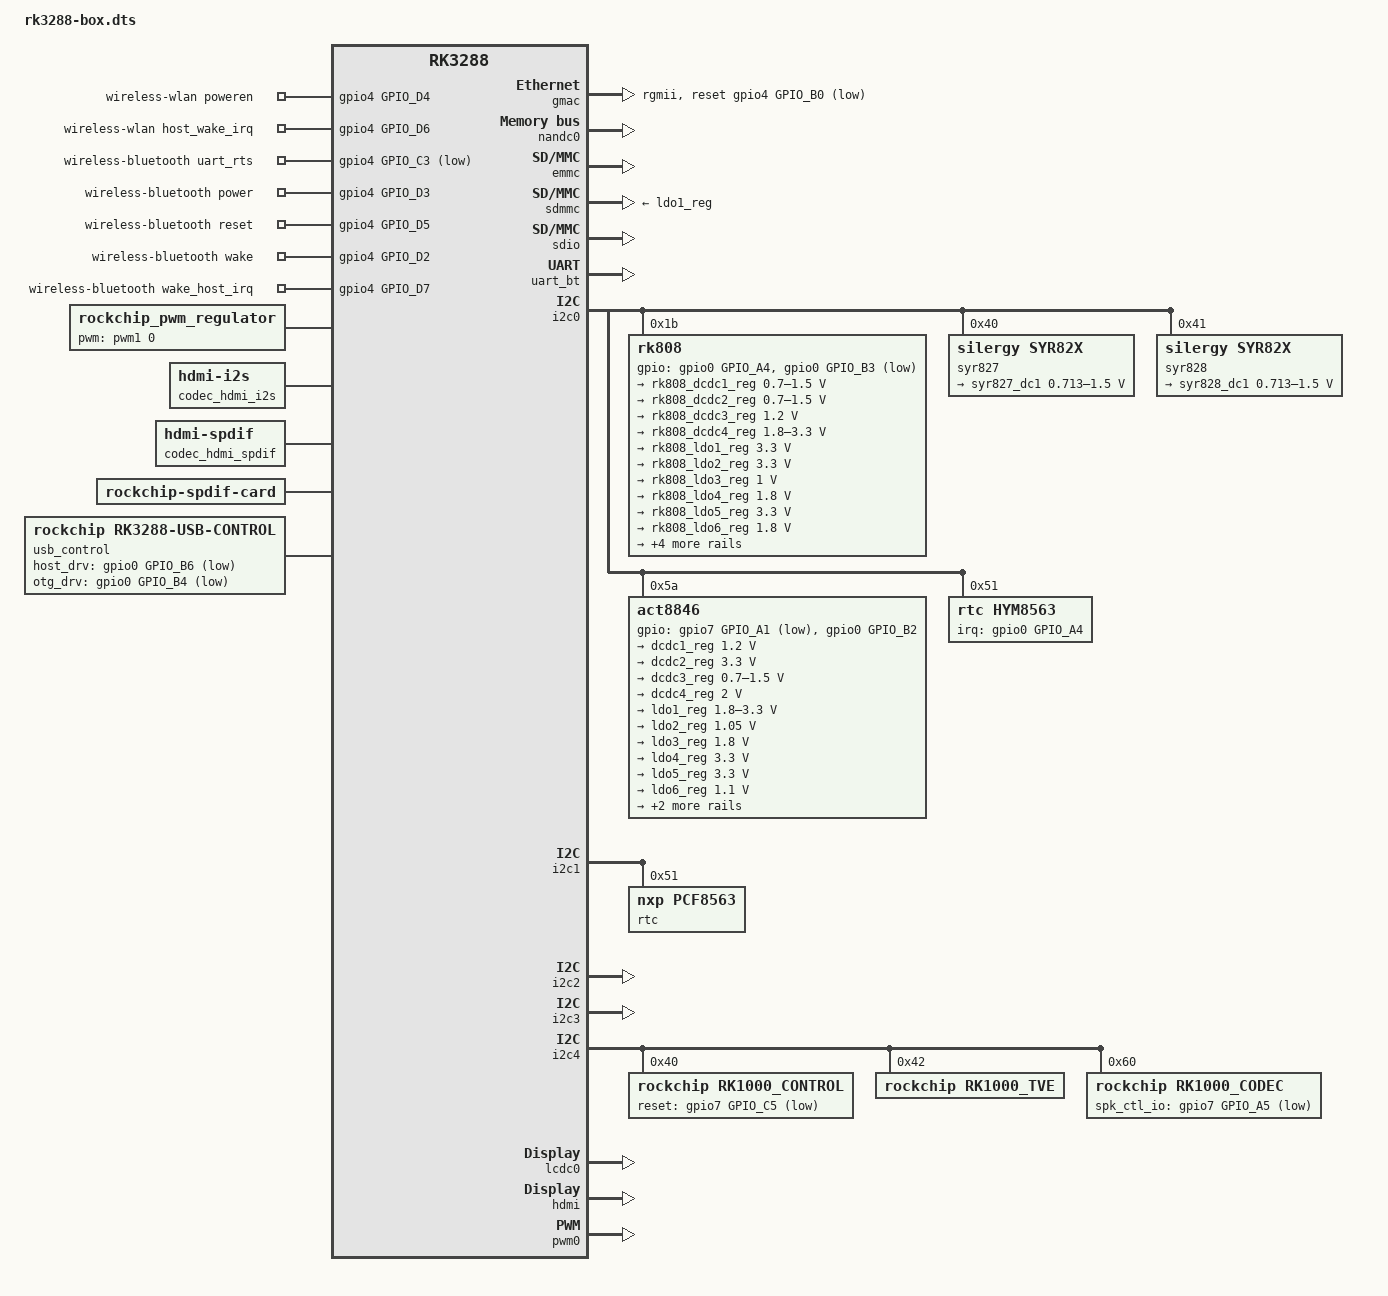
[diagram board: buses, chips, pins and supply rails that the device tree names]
// SPDX-License-Identifier: (GPL-2.0+ OR MIT)
/dts-v1/;

#include "rk3288.dtsi"
#include "lcd-box.dtsi"
#include <dt-bindings/input/input.h>

/ {
	fiq-debugger {
		status = "okay";
	};

	hsic-usb-hub{
		compatible = "hub_reset";
		reset,pin =<&gpio7 GPIO_A6 GPIO_ACTIVE_HIGH>;	// hub reset pin
		status = "disabled";
	};

    wireless-wlan {
        compatible = "wlan-platdata";

	/* wifi_chip_type - wifi chip define
	* bcmwifi ==> like ap6xxx, rk90x;
	* rtkwifi ==> like rtl8188xx, rtl8723xx,rtl8812auv;
	* esp8089 ==> esp8089;
	* other   ==> for other wifi;
	*/
	wifi_chip_type = "bcmwifi";
	sdio_vref = <1800>; //1800mv or 3300mv

	//keep_wifi_power_on;
	//power_ctrl_by_pmu;
        power_pmu_regulator = "act_ldo3";
        power_pmu_enable_level = <1>; //1->HIGH, 0->LOW

        //vref_ctrl_enable;
        //vref_ctrl_gpio = <&gpio0 GPIO_A2 GPIO_ACTIVE_HIGH>;
        vref_pmu_regulator = "act_ldo3";
        vref_pmu_enable_level = <1>; //1->HIGH, 0->LOW

        WIFI,poweren_gpio = <&gpio4 GPIO_D4 GPIO_ACTIVE_HIGH>;
        WIFI,host_wake_irq = <&gpio4 GPIO_D6 GPIO_ACTIVE_HIGH>;
        //WIFI,reset_gpio = <&gpio0 GPIO_A2 GPIO_ACTIVE_LOW>;

        status = "okay";
    };

    wireless-bluetooth {
        compatible = "bluetooth-platdata";

        //wifi-bt-power-toggle;

        uart_rts_gpios = <&gpio4 GPIO_C3 GPIO_ACTIVE_LOW>;
        pinctrl-names = "default","rts_gpio";
        pinctrl-0 = <&uart0_rts>;
        pinctrl-1 = <&uart0_rts_gpio>;

        BT,power_gpio = <&gpio4 GPIO_D3 GPIO_ACTIVE_HIGH>;
        BT,reset_gpio = <&gpio4 GPIO_D5 GPIO_ACTIVE_HIGH>;
        BT,wake_gpio = <&gpio4 GPIO_D2 GPIO_ACTIVE_HIGH>;
        BT,wake_host_irq = <&gpio4 GPIO_D7 GPIO_ACTIVE_HIGH>;

        status = "okay";
    };

	pwm_regulator {
		compatible = "rockchip_pwm_regulator";
		pwms = <&pwm1 0 2000>;
		rockchip,pwm_id= <1>;
		rockchip,pwm_voltage_map= <925000 950000 975000 1000000 1025000 1050000 1075000 1100000 1125000 1150000 1175000 1200000 1225000 1250000 1275000 1300000 1325000 1350000 1375000 1400000>;
		rockchip,pwm_voltage= <1100000>;
		rockchip,pwm_min_voltage= <925000>;
		rockchip,pwm_max_voltage= <1400000>;
		rockchip,pwm_suspend_voltage= <950000>;
		rockchip,pwm_coefficient= <475>;
		regulators {
			#address-cells = <1>;
			#size-cells = <0>;
			pwm_reg0: regulator@0 {
				regulator-compatible = "pwm_dcdc1";
				regulator-name= "vdd_logic";
				regulator-min-microvolt = <925000>;
				regulator-max-microvolt = <1400000>;
				regulator-always-on;
				regulator-boot-on;
			};
		};
	};

	codec_hdmi_i2s: codec-hdmi-i2s {
		compatible = "hdmi-i2s";
	};

	codec_hdmi_spdif: codec-hdmi-spdif {
		compatible = "hdmi-spdif";
	};

	rockchip-hdmi-i2s {
		status = "disabled";
		compatible = "rockchip-hdmi-i2s";
		dais {
			dai0 {
				audio-codec = <&codec_hdmi_i2s>;
				audio-controller = <&i2s>;
				format = "i2s";
				//continuous-clock;
				//bitclock-inversion;
				//frame-inversion;
				//bitclock-master;
				//frame-master;
			};
		};
	};

	rockchip-spdif-card {
		compatible = "rockchip-spdif-card";
		dais {
			dai0 {
				audio-codec = <&codec_hdmi_spdif>;
				audio-controller = <&spdif>;
			};
		};
	};

	rockchip-rk1000 {
		compatible = "rockchip-rk1000";
		dais {
			dai0 {
				audio-codec = <&rk1000_codec>;
				audio-controller = <&i2s>;
				format = "i2s";
			};
		};
	};

	usb_control {
		compatible = "rockchip,rk3288-usb-control";

		host_drv_gpio = <&gpio0 GPIO_B6 GPIO_ACTIVE_LOW>;
		otg_drv_gpio = <&gpio0 GPIO_B4 GPIO_ACTIVE_LOW>;

		rockchip,remote_wakeup;
		rockchip,usb_irq_wakeup;
	};

	test-power{
		status = "okay";
	};

};

&gmac {
//	pmu_regulator = "act_ldo5";
//	pmu_enable_level = <1>; //1->HIGH, 0->LOW
//	power-gpio = <&gpio0 GPIO_A6 GPIO_ACTIVE_HIGH>;
	reset-gpio = <&gpio4 GPIO_B0 GPIO_ACTIVE_LOW>;
	phy-mode = "rgmii";
	clock_in_out = "input";
	tx_delay = <0x30>;
	rx_delay = <0x10>;
};

&pinctrl {
	//used for init some gpio

	init-gpios = <&gpio8 GPIO_A1 GPIO_ACTIVE_HIGH
		&gpio7 GPIO_B1 GPIO_ACTIVE_HIGH
		&gpio4 GPIO_B0 GPIO_ACTIVE_HIGH>;
	gpio0_gpio {
			gpio0_c2: gpio0-c2 {
				rockchip,pins = <GPIO0_C2>;
				rockchip,pull = <VALUE_PULL_DOWN>;
			};

			//to add
		};

	gpio7_gpio {
			gpio7_b7: gpio7-b7 {
				rockchip,pins = <GPIO7_B7>;
				rockchip,pull = <VALUE_PULL_UP>;
			};

			//to add
		};
	//could add other pinctrl definition such as gpio

	// gmac drive strength
	gpio4_gmac {
		mac_clk: mac-clk {
			rockchip,drive = <VALUE_DRV_12MA>;
		};

		mac_txpins: mac-txpins {
			rockchip,drive = <VALUE_DRV_12MA>;
		};

		mac_rxpins: mac-rxpins {
			rockchip,drive = <VALUE_DRV_12MA>;
		};

		mac_crs: mac-crs {
			rockchip,drive = <VALUE_DRV_12MA>;
		};

		mac_mdpins: mac-mdpins {
			rockchip,drive = <VALUE_DRV_12MA>;
		};
	};
};
&nandc0 {
	status = "okay"; // used nand set "okay" ,used emmc set "disabled"
};
&nandc1 {
	status = "disabled"; // used nand set "okay" ,used emmc set "disabled"
};

&nandc0reg {
	status = "disabled"; // used nand set "okay" ,used emmc set "disabled"
};
&emmc {
	clock-frequency = <100000000>;
	clock-freq-min-max = <400000 100000000>;

        supports-highspeed;
	supports-emmc;
        bootpart-no-access;
	supports-tSD;//only tsd-sdcard mode
	supports-DDR_MODE;
	caps2-mmc-hs200;

        ignore-pm-notify;
		keep-power-in-suspend;
		//poll-hw-reset
		status = "okay";
};

&sdmmc {
		clock-frequency = <50000000>;
		lock-freq-min-max = <400000 50000000>;
		supports-highspeed;
		supports-sd;
		broken-cd;
		card-detect-delay = <200>;

		ignore-pm-notify;
		keep-power-in-suspend;

		vmmc-supply = <&ldo1_reg>;
		status = "okay";
};

&sdio {
		clock-frequency = <50000000>;
		clock-freq-min-max = <200000 50000000>;
		supports-highspeed;
		supports-sdio;
		ignore-pm-notify;
		keep-power-in-suspend;
		//cap-sdio-irq;
		status = "okay";
};

&spi0 {
	status = "disabled";
	max-freq = <48000000>;
	/*
	spi_test@00 {
		compatible = "rockchip,spi_test_bus0_cs0";
                reg = <0>;
                spi-max-frequency = <24000000>;
                //spi-cpha;
		//spi-cpol;
                poll_mode = <0>;
	        type = <0>;
		enable_dma = <0>;

	};

	spi_test@01 {
	        compatible = "rockchip,spi_test_bus0_cs1";
	        reg = <1>;
	        spi-max-frequency = <24000000>;
	        spi-cpha;
		spi-cpol;
	        poll_mode = <0>;
	        type = <0>;
		enable_dma = <0>;
	};
	*/
};

&spi1 {
	status = "disabled";
	max-freq = <48000000>;
	/*
	spi_test@10 {
	        compatible = "rockchip,spi_test_bus1_cs0";
	        reg = <0>;
	        spi-max-frequency = <24000000>;
	        //spi-cpha;
		//spi-cpol;
	        poll_mode = <0>;
	        type = <0>;
		enable_dma = <0>;
	};

	*/
	//dtv: connect to dtv demodulator for control signal
	tstv-ctrl@00 {
		compatible = "rockchip,dtv_spi_ctrl";
		gpio-powerup = <&gpio0 GPIO_D7 GPIO_ACTIVE_HIGH>;
		gpio-powerdown = <&gpio2 GPIO_B6 GPIO_ACTIVE_HIGH>;
		gpio-reset = <&gpio2 GPIO_B7 GPIO_ACTIVE_HIGH>;
	        gpio-nreset = <&gpio2 GPIO_B4 GPIO_ACTIVE_HIGH>;
		spi-max-frequency = <12000000>;
		reg = <0>;
                poll_mode = <0>;
	        type = <0>;
		enable_dma = <0>;
	};

};

&spi2 {
	status = "disabled";
	max-freq = <48000000>;
	/*
	spi_test@20 {
	        compatible = "rockchip,spi_test_bus2_cs0";
	        reg = <0>;
	        spi-max-frequency = <24000000>;
	        //spi-cpha;
		//spi-cpol;
	        poll_mode = <0>;
	        type = <0>;
		enable_dma = <0>;
	};

	spi_test@21 {
	        compatible = "rockchip,spi_test_bus2_cs1";
	        reg = <1>;
	        spi-max-frequency = <24000000>;
	        //spi-cpha;
		//spi-cpol;
	        poll_mode = <0>;
	        type = <0>;
		enable_dma = <0>;
	};
	*/
};

&uart_bt {
        status = "okay";
        dma-names = "!tx", "!rx";
        pinctrl-0 = <&uart0_xfer &uart0_cts>;
};

&i2c0 {
	status = "okay";
	rk808: rk808@1b {
		reg = <0x1b>;
		status = "okay";
	};
		syr827: syr827@40 {
		compatible = "silergy,syr82x";
	reg = <0x40>;
		status = "okay";
		regulators {
			#address-cells = <1>;
			#size-cells = <0>;
			syr827_dc1: regulator@0 {
			reg = <0>;
			regulator-compatible = "syr82x_dcdc1";
			regulator-name = "vdd_arm";
			regulator-min-microvolt = <712500>;
			regulator-max-microvolt = <1500000>;
			regulator-always-on;
			regulator-boot-on;
			regulator-initial-mode = <0x2>;
			regulator-initial-state = <3>;
			regulator-state-mem {
				regulator-state-mode = <0x2>;
				regulator-state-enabled;
				regulator-state-uv = <900000>;
			};
		};
	   };
	};
	syr828: syr828@41 {
		compatible = "silergy,syr82x";
		reg = <0x41>;
		status = "okay";
		regulators {
			#address-cells = <1>;
			#size-cells = <0>;
			syr828_dc1: regulator@0 {
			reg = <0>;
			regulator-compatible = "syr82x_dcdc1";
			regulator-name = "vdd_gpu";
			regulator-min-microvolt = <712500>;
			regulator-max-microvolt = <1500000>;
			regulator-always-on;
		regulator-boot-on;
			regulator-initial-mode = <0x2>;
			regulator-initial-state = <3>;
			regulator-state-mem {
				regulator-state-mode = <0x2>;
				regulator-state-disabled;
				regulator-state-uv = <900000>;
			};
		};
	   };
	};
	act8846: act8846@5a {
		reg = <0x5a>;
		status = "okay";
	};

	rtc@51 {
		compatible = "rtc,hym8563";
		reg = <0x51>;
		irq_gpio = <&gpio0 GPIO_A4 IRQ_TYPE_EDGE_FALLING>;
	};
};

&i2c1 {
	status = "okay";
	rtc@51 {
		compatible = "nxp,pcf8563";
		reg = <0x51>;
	};
};

&i2c2 {
	status = "okay";
};

&i2c3 {
	status = "okay";
};

&i2c4 {
	status = "okay";
	rk1000_control@40 {
		compatible = "rockchip,rk1000_control";
		reg = <0x40>;
		gpio-reset = <&gpio7 GPIO_C5 GPIO_ACTIVE_LOW>;
		#clocks = <&clk_i2s>, <&clk_i2s_out>;
		#clock-names = "i2s_clk","i2s_mclk";
		#pinctrl-names = "default";
		#pinctrl-0 = <&i2s_mclk>;
		status = "okay";
	};
	rk1000_tve@42 {
		compatible = "rockchip,rk1000_tve";
		reg = <0x42>;
		rockchip,source = <0>; //0: LCDC0; 1: LCDC1
		rockchip,prop = <PRMRY>;//<EXTEND>
		status = "okay";
	};
	rk1000_codec: rk1000_codec@60 {
		compatible = "rockchip,rk1000_codec";
		reg = <0x60>;
		spk_ctl_io = <&gpio7 GPIO_A5 GPIO_ACTIVE_LOW>;
		boot_depop = <1>;
		pa_enable_time = <5000>;
		status = "okay";
	};
};

&i2c5 {
	status = "disabled";
};

&fb {
	rockchip,disp-mode = <NO_DUAL>;
	rockchip,uboot-logo-on = <1>;
	rockchip,disp-policy = <DISPLAY_POLICY_BOX>;
};

&disp_timings {
	native-mode = <&timing1>;
};

&rk_screen {
	 display-timings = <&disp_timings>;
};

/*lcdc0 as PRMRY(HDMI)*/
&lcdc0 {
	status = "okay";
	rockchip,iommu-enabled = <1>;
	rockchip,prop = <PRMRY>;
};

&lcdc1 {
	status = "disabled";
	rockchip,iommu-enabled = <1>;
	rockchip,prop = <EXTEND>;
};

&hdmi {
	status = "okay";
	rockchip,cec_enable = <0>;
	rockchip,hdcp_enable = <0>;
};

&ion_cma {
	       reg = <0x00000000 0x1000000>; /* 16MB */
};

&vpu {
	iommu_enabled = <1>;
};

&hevc {
	iommu_enabled = <1>;
};

&iep {
	iommu_enabled = <1>;
};

&adc {
	status = "disabled";

	key {
		compatible = "rockchip,key";
		/*
		io-channels = <&adc 1>;

		vol-up-key {
			linux,code = <115>;
			label = "volume up";
			rockchip,adc_value = <1>;
		};

		vol-down-key {
			linux,code = <114>;
			label = "volume down";
			rockchip,adc_value = <170>;
		};
		*/
		power-key {
			gpios = <&gpio0 GPIO_A5 GPIO_ACTIVE_LOW>;
			linux,code = <116>;
			label = "power";
			gpio-key,wakeup;
		};
		/*
		menu-key {
			linux,code = <59>;
			label = "menu";
			rockchip,adc_value = <355>;
		};

		home-key {
			linux,code = <102>;
			label = "home";
			rockchip,adc_value = <746>;
		};

		back-key {
			linux,code = <158>;
			label = "back";
			rockchip,adc_value = <560>;
		};

		camera-key {
			linux,code = <212>;
			label = "camera";
			rockchip,adc_value = <450>;
		};*/
	};
};

&pwm1 {
	status = "disabled";
};


&clk_core_dvfs_table {
	support-pvtm = <1>;
	pvtm-operating-points = <
		/* KHz    uV	pvtm margin*/
//		126000   900000	25000
//		216000   900000	25000
//		312000   900000	25000
		408000   900000	25000
		600000   950000	50000
		696000   950000	50000
		816000  1000000	50000
		1008000 1050000	75000
		1200000 1100000	75000
		1416000 1200000	75000
		1512000 1300000	75000
		1608000 1350000	75000
//		1704000 1350000	75000
//		1800000 1350000	75000
		>;
	status="okay";
};

&clk_gpu_dvfs_table {
	operating-points = <
		/* KHz    uV */
//		100000 900000
		200000 900000
		300000 950000
		420000 1100000
		500000 1150000
//		600000 1250000
		>;
	status="okay";
};

&clk_ddr_dvfs_table {
	operating-points = <
		/* KHz    uV */
		200000 1075000
		300000 1075000
		456000 1125000
		533000 1150000
		>;

	freq-table = <
		/*status		freq(KHz)*/
		SYS_STATUS_NORMAL	456000
		SYS_STATUS_SUSPEND	200000
		//SYS_STATUS_VIDEO_1080P  240000
		SYS_STATUS_VIDEO_4K     533000
		SYS_STATUS_PERFORMANCE  533000
		//SYS_STATUS_BOOST	324000
		//SYS_STATUS_ISP	400000
		>;
	auto-freq-table = <
		240000
		324000
		456000
		528000
		>;
	auto-freq=<0>;
	status="okay";
};
/include/ "act8846.dtsi"
&act8846 {
	gpios =<&gpio7 GPIO_A1 GPIO_ACTIVE_LOW>,<&gpio0 GPIO_B2 GPIO_ACTIVE_HIGH>;
	act8846,system-power-controller;

	regulators {

		dcdc1_reg: regulator@0{
			regulator-name= "act_dcdc1";
			regulator-min-microvolt = <1200000>;
			regulator-max-microvolt = <1200000>;
			regulator-always-on;
			regulator-boot-on;
		};

		dcdc2_reg: regulator@1 {
			regulator-name= "vccio";
			regulator-min-microvolt = <3300000>;
			regulator-max-microvolt = <3300000>;
			regulator-initial-state = <3>;
			regulator-state-mem {
				regulator-state-enabled;
				regulator-state-uv = <3300000>;
			};
		};

		dcdc3_reg: regulator@2 {
			regulator-name= "vdd_logic";
			regulator-min-microvolt = <700000>;
			regulator-max-microvolt = <1500000>;
			regulator-initial-state = <3>;
			regulator-state-mem {
				regulator-state-enabled;
				regulator-state-uv = <1200000>;
			};

		};

		dcdc4_reg: regulator@3 {
			regulator-name= "act_dcdc4";
			regulator-min-microvolt = <2000000>;
			regulator-max-microvolt = <2000000>;
				regulator-initial-state = <3>;
			regulator-state-mem {
				regulator-state-enabled;
				regulator-state-uv = <2000000>;
			};
		};

		ldo1_reg: regulator@4 {
			regulator-name= "vccio_sd";
			regulator-min-microvolt = <1800000>;
			regulator-max-microvolt = <3300000>;

		};

		ldo2_reg: regulator@5 {
			regulator-name= "act_ldo2";
			regulator-min-microvolt = <1050000>;
			regulator-max-microvolt = <1050000>;

		};

		ldo3_reg: regulator@6 {
			regulator-name= "act_ldo3";
			regulator-min-microvolt = <1800000>;
			regulator-max-microvolt = <1800000>;

		};

		ldo4_reg:regulator@7 {
			regulator-name= "act_ldo4";
			regulator-min-microvolt = <3300000>;
			regulator-max-microvolt = <3300000>;

		};

		ldo5_reg: regulator@8 {
			regulator-name= "act_ldo5";
			regulator-min-microvolt = <3300000>;
			regulator-max-microvolt = <3300000>;

		};

		ldo6_reg: regulator@9 {
			regulator-name= "act_ldo6";
			regulator-min-microvolt = <1100000>;
			regulator-max-microvolt = <1100000>;
			regulator-initial-state = <3>;
			regulator-state-mem {
				regulator-state-enabled;
			};

		};

		ldo7_reg: regulator@10 {
			regulator-name= "vcc_18";
			regulator-min-microvolt = <1800000>;
			regulator-max-microvolt = <1800000>;
			regulator-initial-state = <3>;
			regulator-state-mem {
				regulator-state-enabled;
			};

		};

		ldo8_reg: regulator@11 {
			regulator-name= "act_ldo8";
			regulator-min-microvolt = <1850000>;
			regulator-max-microvolt = <1850000>;

		};
	};
};

/include/ "rk808.dtsi"
&rk808 {
	gpios =<&gpio0 GPIO_A4 GPIO_ACTIVE_HIGH>,<&gpio0 GPIO_B3 GPIO_ACTIVE_LOW>;
	rk808,system-power-controller;

	regulators {

		rk808_dcdc1_reg: regulator@0{
			regulator-name= "vdd_arm";
			regulator-min-microvolt = <700000>;
			regulator-max-microvolt = <1500000>;
			regulator-always-on;
			regulator-boot-on;
			regulator-initial-mode = <0x2>;
			regulator-initial-state = <3>;
			regulator-state-mem {
				regulator-state-mode = <0x2>;
				regulator-state-disabled;
				regulator-state-uv = <900000>;
			};
		};

		rk808_dcdc2_reg: regulator@1 {
			regulator-name= "vdd_gpu";
			regulator-min-microvolt = <700000>;
			regulator-max-microvolt = <1500000>;
			regulator-always-on;
			regulator-boot-on;
			regulator-initial-mode = <0x2>;
			regulator-initial-state = <3>;
			regulator-state-mem {
				regulator-state-mode = <0x2>;
				regulator-state-disabled;
				regulator-state-uv = <900000>;
			};
		};

		rk808_dcdc3_reg: regulator@2 {
			regulator-name= "rk_dcdc3";
			regulator-min-microvolt = <1200000>;
			regulator-max-microvolt = <1200000>;
			regulator-always-on;
			regulator-boot-on;
			regulator-initial-mode = <0x2>;
			regulator-initial-state = <3>;
			regulator-state-mem {
				regulator-state-mode = <0x2>;
				regulator-state-enabled;
				regulator-state-uv = <1200000>;
			};
		};

		rk808_dcdc4_reg: regulator@3 {
			regulator-name= "vccio";
			regulator-min-microvolt = <1800000>;
			regulator-max-microvolt = <3300000>;
			regulator-always-on;
			regulator-boot-on;
			regulator-initial-mode = <0x2>;
			regulator-initial-state = <3>;
			regulator-state-mem {
				regulator-state-mode = <0x2>;
				regulator-state-enabled;
				regulator-state-uv = <2800000>;
			};
		};

    /* NO USED, 3.3V*/
		rk808_ldo1_reg: regulator@4 {
			regulator-name= "rk_ldo1";
			regulator-min-microvolt = <3300000>;
			regulator-max-microvolt = <3300000>;
			regulator-always-on;
			regulator-boot-on;
			regulator-initial-state = <3>;
			regulator-state-mem {
				regulator-state-enabled;
				regulator-state-uv = <3300000>;
			};
		};

    /* BOX:RK1000s, 3.3V  */
		rk808_ldo2_reg: regulator@5 {
			regulator-name= "rk_ldo2";
			regulator-min-microvolt = <3300000>;
			regulator-max-microvolt = <3300000>;
			regulator-always-on;
			regulator-boot-on;
			regulator-initial-state = <3>;
			regulator-state-mem {
				regulator-state-enabled;
				regulator-state-uv = <3300000>;
			};
		};

    /* RK3288 PLL,USB PHY, 1.0V */
		rk808_ldo3_reg: regulator@6 {
			regulator-name= "rk_ldo3";
			regulator-min-microvolt = <1000000>;
			regulator-max-microvolt = <1000000>;
			regulator-always-on;
			regulator-boot-on;
			regulator-initial-state = <3>;
			regulator-state-mem {
				regulator-state-enabled;
				regulator-state-uv = <1000000>;
			};
		};

    /* BOX:RK1000S CORE, 1.8V  */
		rk808_ldo4_reg:regulator@7 {
			regulator-name= "rk_ldo4";
			regulator-min-microvolt = <1800000>;
			regulator-max-microvolt = <1800000>;
			regulator-always-on;
			regulator-boot-on;
			regulator-initial-state = <3>;
			regulator-state-mem {
				regulator-state-disabled;
				regulator-state-uv = <1800000>;
			};
		};

    /* SDMMC IO, 3.3V*/
		rk808_ldo5_reg: regulator@8 {
			regulator-name= "rk_ldo5";
			regulator-min-microvolt = <3300000>;
			regulator-max-microvolt = <3300000>;
			regulator-always-on;
			regulator-boot-on;
			regulator-initial-state = <3>;
			regulator-state-mem {
				regulator-state-enabled;
				regulator-state-uv = <3300000>;
			};
		};

    /* CAMERA, 1.8V  box modify*/
		rk808_ldo6_reg: regulator@9 {
			regulator-name= "rk_ldo6";
			regulator-min-microvolt = <1800000>;
			regulator-max-microvolt = <1800000>;
			regulator-always-on;
			regulator-boot-on;
			regulator-initial-state = <3>;
			regulator-state-mem {
				regulator-state-disabled;
				regulator-state-uv = <1000000>;
			};
		};

    /* RK3288 USB PHY, SAR-ADC, WIFI IO, 1.8V */
		rk808_ldo7_reg: regulator@10 {
			regulator-name= "rk_ldo7";
			regulator-min-microvolt = <1800000>;
			regulator-max-microvolt = <1800000>;
			regulator-always-on;
			regulator-boot-on;
			regulator-initial-state = <3>;
			regulator-state-mem {
				regulator-state-enabled;
				regulator-state-uv = <1800000>;
			};
		};

    /* DTV, 3.3V  box modify*/
		rk808_ldo8_reg: regulator@11 {
			regulator-name= "rk_ldo8";
			regulator-min-microvolt = <3300000>;
			regulator-max-microvolt = <3300000>;
			regulator-always-on;
			regulator-boot-on;
			regulator-initial-state = <3>;
			regulator-state-mem {
				regulator-state-enabled;
				regulator-state-uv = <3300000>;
			};
		};

		rk808_ldo9_reg: regulator@12 {
			regulator-name= "rk_ldo9";
			regulator-always-on;
			regulator-boot-on;
			regulator-initial-state = <3>;
			regulator-state-mem {
				regulator-state-enabled;
			};
		};

		rk808_ldo10_reg: regulator@13 {
			regulator-name= "rk_ldo10";
			regulator-always-on;
			regulator-boot-on;
			regulator-initial-state = <3>;
			regulator-state-mem {
				regulator-state-disabled;
			};
		};
	};
};

&lcdc_vdd_domain {
	regulator-name = "vcc30_lcd";
	};
&dpio_vdd_domain{
	regulator-name = "vcc18_cif";
	};
&flash0_vdd_domain{
	regulator-name = "vcc_flash";
	};
&flash1_vdd_domain{
	regulator-name = "vcc_flash";
	};
&apio3_vdd_domain{
	regulator-name = "vccio_wl";
	};
&apio5_vdd_domain{
	regulator-name = "vccio";
	};
&apio4_vdd_domain{
	regulator-name = "vccio";
	};
&apio1_vdd_domain{
	regulator-name = "vccio";
	};
&apio2_vdd_domain{
	regulator-name = "vccio";
	};
&sdmmc0_vdd_domain{
	regulator-name = "vcc_sd";
	};

/*
 * Due to not have the software of PWM for remotectrl.
 * We can _*HACK*_ do that as the following.
 */
&pwm0 {
	compatible = "rockchip,remotectl-pwm";
	remote_pwm_id = <0>;
	handle_cpu_id = <1>;
	status = "okay";

	ir_key1{
		rockchip,usercode = <0x4040>;
		rockchip,key_table =
			<0xf2	KEY_REPLY>,
			<0xba	KEY_BACK>,
			<0xf4	KEY_UP>,
			<0xf1	KEY_DOWN>,
			<0xef	KEY_LEFT>,
			<0xee	KEY_RIGHT>,
			<0xbd	KEY_HOME>,
			<0xea	KEY_VOLUMEUP>,
			<0xe3	KEY_VOLUMEDOWN>,
			<0xe2	KEY_SEARCH>,
			<0xb2	KEY_POWER>,
			<0xbc	KEY_MUTE>,
			<0xec	KEY_MENU>,
			<0xbf	0x190>,
			<0xe0	0x191>,
			<0xe1	0x192>,
			<0xe9	183>,
			<0xe6	248>,
			<0xe8	185>,
			<0xe7	186>,
			<0xf0	388>,
			<0xbe	0x175>;
	};
	ir_key2{
		rockchip,usercode = <0xff00>;
		rockchip,key_table =
			<0xf9	KEY_HOME>,
			<0xbf	KEY_BACK>,
			<0xfb	KEY_MENU>,
			<0xaa	KEY_REPLY>,
			<0xb9	KEY_UP>,
			<0xe9	KEY_DOWN>,
			<0xb8	KEY_LEFT>,
			<0xea	KEY_RIGHT>,
			<0xeb	KEY_VOLUMEDOWN>,
			<0xef	KEY_VOLUMEUP>,
			<0xf7	KEY_MUTE>,
			<0xe7	KEY_POWER>,
			<0xfc	KEY_POWER>,
			<0xa9	KEY_VOLUMEDOWN>,
			<0xa8	KEY_VOLUMEDOWN>,
			<0xe0	KEY_VOLUMEDOWN>,
			<0xa5	KEY_VOLUMEDOWN>,
			<0xab	183>,
			<0xb7	388>,
			<0xf8	184>,
			<0xaf	185>,
			<0xed	KEY_VOLUMEDOWN>,
			<0xee	186>,
			<0xb3	KEY_VOLUMEDOWN>,
			<0xf1	KEY_VOLUMEDOWN>,
			<0xf2	KEY_VOLUMEDOWN>,
			<0xf3	KEY_SEARCH>,
			<0xb4	KEY_VOLUMEDOWN>,
			<0xbe	KEY_SEARCH>;
	};
	ir_key3{
		rockchip,usercode = <0x1dcc>;
		rockchip,key_table =
			<0xee	KEY_REPLY>,
			<0xf0	KEY_BACK>,
			<0xf8	KEY_UP>,
			<0xbb	KEY_DOWN>,
			<0xef	KEY_LEFT>,
			<0xed	KEY_RIGHT>,
			<0xfc	KEY_HOME>,
			<0xf1	KEY_VOLUMEUP>,
			<0xfd	KEY_VOLUMEDOWN>,
			<0xb7	KEY_SEARCH>,
			<0xff	KEY_POWER>,
			<0xf3	KEY_MUTE>,
			<0xbf	KEY_MENU>,
			<0xf9	0x191>,
			<0xf5	0x192>,
			<0xb3	388>,
			<0xbe	KEY_1>,
			<0xba	KEY_2>,
			<0xb2	KEY_3>,
			<0xbd	KEY_4>,
			<0xf9	KEY_5>,
			<0xb1	KEY_6>,
			<0xfc	KEY_7>,
			<0xf8	KEY_8>,
			<0xb0	KEY_9>,
			<0xb6	KEY_0>,
			<0xb5	KEY_BACKSPACE>;
	};
};
